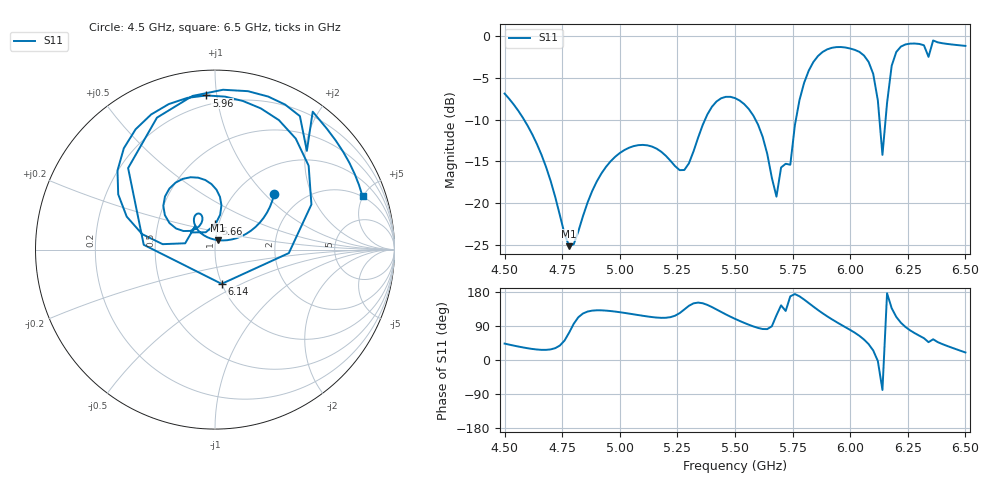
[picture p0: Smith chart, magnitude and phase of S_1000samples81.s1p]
! TOUCHSTONE file generated by CST MICROWAVE STUDIO
! Date and time: Wed Oct 26 22:28:40 2022
! Project name: L.cst
! Parameters = {Di=1.27; Epsilon_r=1.56; InnerDiameter=1.27; Length=2; Lf=10; Lg=60; OuterConductorThickness=0.2921; OuterDiameter=3.6; Wf=3; Wp=41.2; de=1.5; df=6.8; g=0.8; gx=2.13489; gy=2.00453; h=2.34; hf=1.524; px=14.5077; py=9.04181; w=9.7; wx=12.3728; wy=7.03729}
! Header version: 2018
! Port assignment regex: !\s*Touchstone port\s*([0-9]+)\s*=\s*(CST MWS port|CST DS port)\s*([0-9]+|Zmin|Zmax)\s*\(\"(.*)\"\)(\s*mode\s*([0-9]+))?.*
! Touchstone port assignment:
! Touchstone port 1 = CST MWS port 1 ("")
# GHz S DB R 50
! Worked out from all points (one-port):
!   101 points, 4.5 GHz to 6.5 GHz, reference 50 ohm
!   lowest |S11| = -25.2 dB at 4.78 GHz (marker M1), VSWR 1.12, Z = 51.4 + j5.42 ohm
!   |S11| at or under -10 dB: 4.584 GHz to 5.37 GHz (785.9 MHz wide, 15.8 % of centre); 5.589 GHz to 5.764 GHz (175.6 MHz wide, 3.09 % of centre); 6.127043 GHz to 6.15358 GHz (26.54 MHz wide, 0.432 % of centre)
!   S11 on the Smith chart (normalised r, x): 4.5 GHz: 1.46, +1.14; 5.66 GHz: 0.97, +0.28; 5.96 GHz: 0.14, +0.94; 6.14 GHz: 1.00, -0.40; 6.5 GHz: 1.97, +4.95
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4.5  -6.88 43.3
4.64  -12.91 27.7
4.76  -23.67 51.2
4.78  -25.16 72.1
5  -14.00 126.1
5.26  -16.05 123.8
5.4  -8.46 139.7
5.5  -7.42 108.6
5.6  -10.60 84.6
5.66  -16.98 89.1
5.68  -19.22 118.0
5.7  -15.73 144.2
5.74  -15.40 168.1
5.76  -10.66 174.1
5.84  -3.11 141.0
5.96  -1.31 93.2
6  -1.49 79.3
6.06  -2.33 54.0
6.1  -4.54 25.1
6.12  -7.70 -2.7
6.14  -14.22 -79.1
6.16  -8.00 176.1
6.18  -3.56 136.8
6.22  -1.26 98.3
6.26  -0.90 78.3
6.34  -2.48 47.1
6.36  -0.52 54.7
6.5  -1.17 19.9
